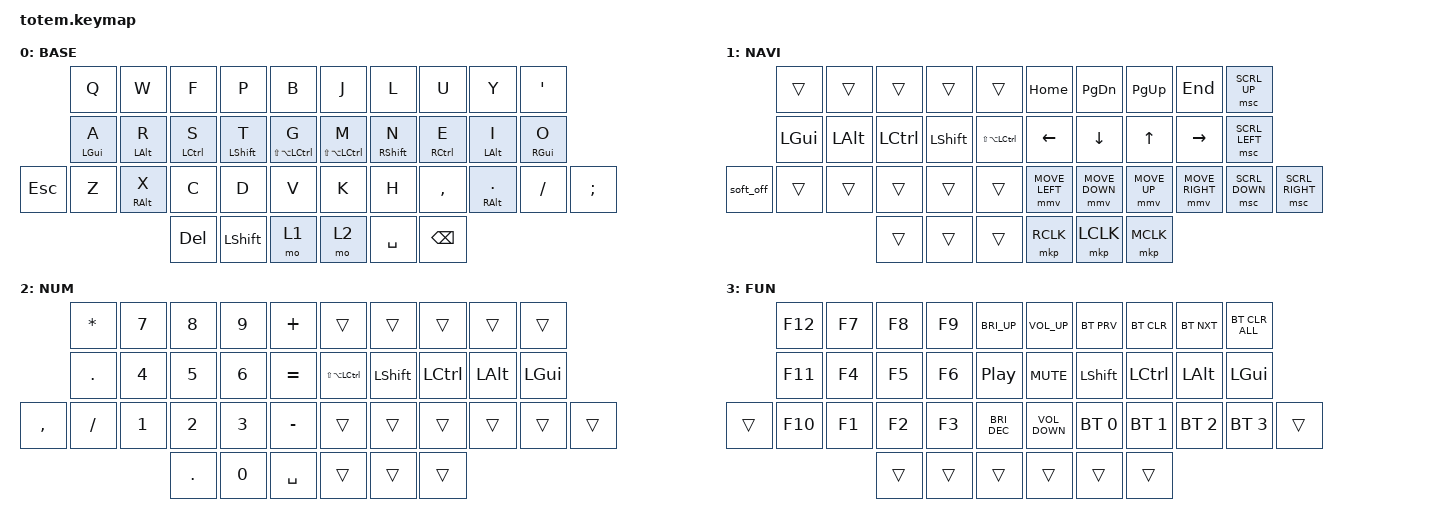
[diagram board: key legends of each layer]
//
//                                                        ▀▀▀▀▀     ▀▀▀▀▀          ▀▀█▀▀
//                                                        ▄▀▀▀▄  ▄  ▄▀▀▀▄  ▄  ▄▀▀▀▄  █  ▄▀▀▀▄
//                                                        █   █  █  █   █  █  █   █  █  █   █
//                                                         ▀▀▀   █   ▀▀▀   █   ▀▀▀   ▀   ▀▀▀
//                                                               █      ▄▄▄█▄▄▄    █   █  
//                                                               ▀      █  █  █     █▄█
//                                                             ▀▀▀▀▀    █  █  █      ▀
//                                                                      ▀  ▀  ▀
//
// ▄▄▄▄▄▄▄▄▄▄▄▄▄▄▄▄▄▄▄▄▄▄▄▄▄▄▄▄▄▄▄▄▄▄▄▄▄▄▄▄▄▄▄▄▄▄▄▄▄▄▄▄▄▄▄▄▄▄▄▄▄▄▄▄▄▄▄▄▄▄▄▄▄▄▄▄▄▄▄▄▄▄▄▄▄▄▄▄▄▄▄▄▄▄▄▄▄▄▄▄▄▄▄▄▄▄▄▄▄▄▄▄▄▄▄▄▄▄▄▄▄▄▄▄▄▄▄▄▄▄▄▄▄▄▄▄▄▄▄▄▄▄▄▄▄▄▄▄▄

#include <behaviors.dtsi>
#include <dt-bindings/zmk/bt.h>
#include <dt-bindings/zmk/keys.h>
#include <dt-bindings/zmk/pointing.h>

#define BASE 0
#define NAV  1
#define SYM  2
#define ADJ  3
#define TVP1 4
#define TVP2 5

&mt {
    quick-tap-ms = <100>;
    global-quick-tap;
    tapping-term-ms = <170>;
    flavor = "tap-preferred";
};

&soft_off { hold-time-ms = <1000>; };

&mmv {
    acceleration-exponent = <2>;
    time-to-max-speed-ms = <300>;
};

/ {
    combos {
        compatible = "zmk,combos";

        combo_lpar {
            bindings = <&kp LPAR>;
            key-positions = <3 13>;
            layers = <0>;
        };

        combo_rpar {
            bindings = <&kp RPAR>;
            key-positions = <6 16>;
            layers = <0>;
        };

        combo_lbrckt {
            bindings = <&kp LEFT_BRACKET>;
            key-positions = <2 12>;
            layers = <0>;
        };

        combo_rbrckt {
            bindings = <&kp RIGHT_BRACKET>;
            key-positions = <7 17>;
            layers = <0>;
        };

        combo_lbrce {
            bindings = <&kp LBRC>;
            key-positions = <1 11>;
            layers = <0>;
        };

        combo_rbrce {
            bindings = <&kp RBRC>;
            key-positions = <18 8>;
            layers = <0>;
        };

        combo_enter {
            bindings = <&kp ENTER>;
            key-positions = <17 18>;
            layers = <0>;
        };

        combo_tab {
            bindings = <&kp TAB>;
            key-positions = <11 12>;
            layers = <0>;
        };

        combo_minus {
            bindings = <&kp MINUS>;
            key-positions = <1 2>;
            layers = <0>;
        };

        combo_eq {
            bindings = <&kp EQUAL>;
            key-positions = <7 8>;
            layers = <0>;
        };

        combo_grave {
            bindings = <&kp GRAVE>;
            key-positions = <0 10>;
            layers = <0>;
        };

        combo_backslash {
            bindings = <&kp BACKSLASH>;
            key-positions = <9 19>;
            layers = <0>;
        };

        combo_capsword {
            bindings = <&caps_word>;
            key-positions = <13 16>;
            layers = <0>;
        };

        como_excl {
            bindings = <&kp EXCL>;
            key-positions = <24 13>;
            layers = <0>;
        };

        combo_at {
            bindings = <&kp AT>;
            key-positions = <22 11>;
            layers = <0>;
        };

        combo_hash {
            bindings = <&kp HASH>;
            key-positions = <18 29>;
            layers = <0>;
        };

        combo_dollar {
            bindings = <&kp DOLLAR>;
            key-positions = <19 30>;
            layers = <0>;
        };

        combo_percent {
            bindings = <&kp PERCENT>;
            key-positions = <27 16>;
            layers = <0>;
        };

        combo_caret {
            bindings = <&kp CARET>;
            key-positions = <21 10>;
            layers = <0>;
        };

        combo_amp {
            bindings = <&kp AMPS>;
            key-positions = <28 17>;
            layers = <0>;
        };

        combo_star {
            bindings = <&kp STAR>;
            key-positions = <23 12>;
            layers = <0>;
        };

        thumb_func {
            bindings = <&mo 3>;
            key-positions = <34 35>;
        };

        combo_esc {
            bindings = <&kp ESC>;
            key-positions = <0 1>;
            layers = <0>;
        };

        combo_underscore {
            bindings = <&kp UNDER>;
            key-positions = <22 23>;
            layers = <0>;
        };

        combo_plus {
            bindings = <&kp PLUS>;
            key-positions = <29 28>;
            layers = <0>;
        };

        combo_colon {
            bindings = <&kp COLON>;
            key-positions = <6 9>;
            layers = <0>;
        };

        combo_semi {
            bindings = <&kp SEMI>;
            key-positions = <0 3>;
            layers = <0>;
        };
    };

    behaviors {
        hmr: hmr {
            compatible = "zmk,behavior-hold-tap";
            label = "HMR";
            bindings = <&kp>, <&kp>;

            #binding-cells = <2>;
            tapping-term-ms = <280>;
            quick-tap-ms = <175>;
            require-prior-idle-ms = <150>;
            flavor = "balanced";
            hold-trigger-key-positions = <10 11 12 13 10 0 1 2 3 4 10 11 12 13 14 20 21 22 23 24 25 32 33 34 35 36 37>;
            hold-trigger-on-release;
        };

        hml: hml {
            compatible = "zmk,behavior-hold-tap";
            label = "HML";
            bindings = <&kp>, <&kp>;

            #binding-cells = <2>;
            tapping-term-ms = <280>;
            quick-tap-ms = <175>;
            require-prior-idle-ms = <150>;
            flavor = "balanced";
            hold-trigger-key-positions = <16 17 18 19 5 6 7 8 9 15 16 17 18 19 26 27 28 29 30 31 35 36 37>;
            hold-trigger-on-release;
        };
    };

    keymap {
        compatible = "zmk,keymap";

        // ▄▄▄▄▄▄▄▄▄▄▄▄▄▄▄▄▄▄▄▄▄▄▄▄▄▄▄▄▄▄▄▄▄▄▄▄▄▄▄▄▄▄▄▄▄▄▄▄▄▄▄▄▄▄▄▄▄▄▄▄▄▄▄▄▄▄▄▄▄▄▄▄▄▄▄▄▄▄▄▄▄▄▄▄▄▄▄▄▄▄▄▄▄▄▄▄▄▄▄▄▄▄▄▄▄▄▄▄▄▄▄▄▄▄▄▄▄▄▄▄▄▄▄▄▄▄▄▄▄▄▄▄▄▄▄▄▄▄▄▄▄▄▄▄▄▄▄▄▄

        base_layer {
            // ┏━━━━━━━━━━━━━━━━━━━━━━━━━━━━━━━━━━━━━━━┓

            label = "BASE";

            // ┗━━━━━━━━━━━━━━━━━━━━━━━━━━━━━━━━━━━━━━━┛
            //             ┏━━━━━━━━━━━┳━━━━━━━━━━━┳━━━━━━━━━━━┳━━━━━━━━━━━┳━━━━━━━━━━━┓   ┏━━━━━━━━━━━┳━━━━━━━━━━━┳━━━━━━━━━━━┳━━━━━━━━━━━┳━━━━━━━━━━━┓
            //             ┃     Q     ┃     W     ┃     F     ┃     P     ┃     G     ┃   ┃     J     ┃     L     ┃     U     ┃     Y     ┃     ;     ┃
            //             ┣━━━━━━━━━━━╋━━━━━━━━━━━╋━━━━━━━━━━━╋━━━━━━━━━━━╋━━━━━━━━━━━┫   ┣━━━━━━━━━━━╋━━━━━━━━━━━╋━━━━━━━━━━━╋━━━━━━━━━━━╋━━━━━━━━━━━┫
            //             ┃     A     ┃     R     ┃     S     ┃     T     ┃     D     ┃   ┃     H     ┃     N     ┃     E     ┃     I     ┃     O     ┃
            // ┏━━━━━━━━━━━╋━━━━━━━━━━━╋━━━━━━━━━━━╋━━━━━━━━━━━╋━━━━━━━━━━━╋━━━━━━━━━━━┫   ┣━━━━━━━━━━━╋━━━━━━━━━━━╋━━━━━━━━━━━╋━━━━━━━━━━━╋━━━━━━━━━━━╋━━━━━━━━━━━┓
            // ┃     Q     ┃     Z     ┃     X     ┃     C     ┃     V     ┃     B     ┃   ┃     K     ┃     M     ┃     ,     ┃     .     ┃     /     ┃     \     ┃
            // ┗━━━━━━━━━━━┻━━━━━━━━━━━┻━━━━━━━━━━━╋━━━━━━━━━━━╋━━━━━━━━━━━╋━━━━━━━━━━━┫   ┣━━━━━━━━━━━╋━━━━━━━━━━━╋━━━━━━━━━━━╋━━━━━━━━━━━┻━━━━━━━━━━━┻━━━━━━━━━━━┛
            //                                     ┃    DEL    ┃    TAB    ┃    SPC    ┃   ┃   ENTER   ┃           ┃   BSPC    ┃
            //                                     ┗━━━━━━━━━━━┻━━━━━━━━━━━┻━━━━━━━━━━━┛   ┗━━━━━━━━━━━┻━━━━━━━━━━━┻━━━━━━━━━━━┛

            bindings = <
         &kp Q        &kp W        &kp F         &kp P          &kp B                   &kp J                 &kp L         &kp U          &kp Y          &kp APOS
         &hml LGUI A  &hml LALT R  &hml LCTRL S  &hml LSHIFT T  &hml LS(LA(LCTRL)) G    &hmr LS(LA(LCTRL)) M  &hmr RSHFT N  &hmr RCTRL E   &hmr LALT I    &hmr RGUI O
&kp ESC  &kp Z        &hml RALT X  &kp C         &kp D          &kp V                   &kp K                 &kp H         &kp COMMA      &hmr RALT DOT  &kp FSLH     &kp SEMI
                                   &kp DEL       &kp LSHIFT     &mo 1                   &mo 2                 &kp SPACE     &kp BACKSPACE
            >;
        };

        // ▄▄▄▄▄▄▄▄▄▄▄▄▄▄▄▄▄▄▄▄▄▄▄▄▄▄▄▄▄▄▄▄▄▄▄▄▄▄▄▄▄▄▄▄▄▄▄▄▄▄▄▄▄▄▄▄▄▄▄▄▄▄▄▄▄▄▄▄▄▄▄▄▄▄▄▄▄▄▄▄▄▄▄▄▄▄▄▄▄▄▄▄▄▄▄▄▄▄▄▄▄▄▄▄▄▄▄▄▄▄▄▄▄▄▄▄▄▄▄▄▄▄▄▄▄▄▄▄▄▄▄▄▄▄▄▄▄▄▄▄▄▄▄▄▄▄▄▄▄

        nav_layer {
            // ┏━━━━━━━━━━━━━━━━━━━━━━━━━━━━━━━━━━━━━━━┓

            label = "NAVI";

            // ┗━━━━━━━━━━━━━━━━━━━━━━━━━━━━━━━━━━━━━━━┛
            //             ┏━━━━━━━━━━━┳━━━━━━━━━━━┳━━━━━━━━━━━┳━━━━━━━━━━━┳━━━━━━━━━━━┓   ┏━━━━━━━━━━━┳━━━━━━━━━━━┳━━━━━━━━━━━┳━━━━━━━━━━━┳━━━━━━━━━━━┓
            //             ┃           ┃           ┃     UP    ┃           ┃     {     ┃   ┃     }     ┃     7     ┃     8     ┃     9     ┃     +     ┃
            //             ┣━━━━━━━━━━━╋━━━━━━━━━━━╋━━━━━━━━━━━╋━━━━━━━━━━━╋━━━━━━━━━━━┫   ┣━━━━━━━━━━━╋━━━━━━━━━━━╋━━━━━━━━━━━╋━━━━━━━━━━━╋━━━━━━━━━━━┫
            //             ┃   SHIFT   ┃   LEFT    ┃    DOWN   ┃   RIGHT   ┃     [     ┃   ┃     ]     ┃     4     ┃     5     ┃     6     ┃     -     ┃
            // ┏━━━━━━━━━━━╋━━━━━━━━━━━╋━━━━━━━━━━━╋━━━━━━━━━━━╋━━━━━━━━━━━╋━━━━━━━━━━━┫   ┣━━━━━━━━━━━╋━━━━━━━━━━━╋━━━━━━━━━━━╋━━━━━━━━━━━╋━━━━━━━━━━━╋━━━━━━━━━━━┓
            // ┃           ┃           ┃   P UP    ┃  C LOCK   ┃  P DOWN   ┃     (     ┃   ┃     )     ┃     1     ┃     2     ┃     3     ┃     *     ┃           ┃
            // ┗━━━━━━━━━━━┻━━━━━━━━━━━┻━━━━━━━━━━━╋━━━━━━━━━━━╋━━━━━━━━━━━╋━━━━━━━━━━━┫   ┣━━━━━━━━━━━╋━━━━━━━━━━━╋━━━━━━━━━━━╋━━━━━━━━━━━┻━━━━━━━━━━━┻━━━━━━━━━━━┛
            //                                     ┃           ┃    TAB    ┃    SPC    ┃   ┃    DEL    ┃     0     ┃           ┃
            //                                     ┗━━━━━━━━━━━┻━━━━━━━━━━━┻━━━━━━━━━━━┛   ┗━━━━━━━━━━━┻━━━━━━━━━━━┻━━━━━━━━━━━┛

            bindings = <
           &trans        &trans    &trans     &trans          &trans               &kp HOME        &kp PG_DN       &kp PG_UP     &kp END          &msc SCRL_UP
           &kp LEFT_GUI  &kp LALT  &kp LCTRL  &kp LEFT_SHIFT  &kp LS(LA(LCTRL))    &kp LEFT        &kp DOWN        &kp UP_ARROW  &kp RIGHT        &msc SCRL_LEFT
&soft_off  &trans        &trans    &trans     &trans          &trans               &mmv MOVE_LEFT  &mmv MOVE_DOWN  &mmv MOVE_UP  &mmv MOVE_RIGHT  &msc SCRL_DOWN  &msc SCRL_RIGHT
                                   &trans     &trans          &trans               &mkp RCLK       &mkp LCLK       &mkp MCLK
            >;
        };

        // ▄▄▄▄▄▄▄▄▄▄▄▄▄▄▄▄▄▄▄▄▄▄▄▄▄▄▄▄▄▄▄▄▄▄▄▄▄▄▄▄▄▄▄▄▄▄▄▄▄▄▄▄▄▄▄▄▄▄▄▄▄▄▄▄▄▄▄▄▄▄▄▄▄▄▄▄▄▄▄▄▄▄▄▄▄▄▄▄▄▄▄▄▄▄▄▄▄▄▄▄▄▄▄▄▄▄▄▄▄▄▄▄▄▄▄▄▄▄▄▄▄▄▄▄▄▄▄▄▄▄▄▄▄▄▄▄▄▄▄▄▄▄▄▄▄▄▄▄▄

        num_layer {
            // ┏━━━━━━━━━━━━━━━━━━━━━━━━━━━━━━━━━━━━━━━┓

            label = "NUM";

            // ┗━━━━━━━━━━━━━━━━━━━━━━━━━━━━━━━━━━━━━━━┛
            //             ┏━━━━━━━━━━━┳━━━━━━━━━━━┳━━━━━━━━━━━┳━━━━━━━━━━━┳━━━━━━━━━━━┓   ┏━━━━━━━━━━━┳━━━━━━━━━━━┳━━━━━━━━━━━┳━━━━━━━━━━━┳━━━━━━━━━━━┓
            //             ┃     !     ┃     @     ┃     #     ┃     $     ┃     %     ┃   ┃     ˆ     ┃     &     ┃     Ü     ┃     '     ┃     "     ┃
            //             ┣━━━━━━━━━━━╋━━━━━━━━━━━╋━━━━━━━━━━━╋━━━━━━━━━━━╋━━━━━━━━━━━┫   ┣━━━━━━━━━━━╋━━━━━━━━━━━╋━━━━━━━━━━━╋━━━━━━━━━━━╋━━━━━━━━━━━┫
            //             ┃     Ä     ┃           ┃    SZ     ┃           ┃           ┃   ┃   MUTE    ┃   YEN     ┃   EURO    ┃  POUND    ┃     Ö     ┃
            // ┏━━━━━━━━━━━╋━━━━━━━━━━━╋━━━━━━━━━━━╋━━━━━━━━━━━╋━━━━━━━━━━━╋━━━━━━━━━━━┫   ┣━━━━━━━━━━━╋━━━━━━━━━━━╋━━━━━━━━━━━╋━━━━━━━━━━━╋━━━━━━━━━━━╋━━━━━━━━━━━┓
            // ┃           ┃  EMAIL1   ┃  EMAIL2   ┃           ┃           ┃           ┃   ┃   VOL-    ┃   VOL+    ┃   LAST    ┃   NEXT    ┃     \     ┃           ┃
            // ┗━━━━━━━━━━━┻━━━━━━━━━━━┻━━━━━━━━━━━╋━━━━━━━━━━━╋━━━━━━━━━━━╋━━━━━━━━━━━┫   ┣━━━━━━━━━━━╋━━━━━━━━━━━╋━━━━━━━━━━━╋━━━━━━━━━━━┻━━━━━━━━━━━┻━━━━━━━━━━━┛
            //                                     ┃           ┃    GIF    ┃    ADJ    ┃   ┃           ┃           ┃           ┃
            //                                     ┗━━━━━━━━━━━┻━━━━━━━━━━━┻━━━━━━━━━━━┛   ┗━━━━━━━━━━━┻━━━━━━━━━━━┻━━━━━━━━━━━┛

            bindings = <
           &kp STAR   &kp N7        &kp N8        &kp N9        &kp PLUS     &trans             &trans     &trans     &trans    &trans
           &kp DOT    &kp NUMBER_4  &kp N5        &kp NUMBER_6  &kp EQUAL    &kp LS(LA(LCTRL))  &kp LSHFT  &kp LCTRL  &kp LALT  &kp LGUI
&kp COMMA  &kp SLASH  &kp NUMBER_1  &kp NUMBER_2  &kp NUMBER_3  &kp MINUS    &trans             &trans     &trans     &trans    &trans    &trans
                                    &kp DOT       &kp N0        &kp SPACE    &trans             &trans     &trans
            >;
        };

        // ▄▄▄▄▄▄▄▄▄▄▄▄▄▄▄▄▄▄▄▄▄▄▄▄▄▄▄▄▄▄▄▄▄▄▄▄▄▄▄▄▄▄▄▄▄▄▄▄▄▄▄▄▄▄▄▄▄▄▄▄▄▄▄▄▄▄▄▄▄▄▄▄▄▄▄▄▄▄▄▄▄▄▄▄▄▄▄▄▄▄▄▄▄▄▄▄▄▄▄▄▄▄▄▄▄▄▄▄▄▄▄▄▄▄▄▄▄▄▄▄▄▄▄▄▄▄▄▄▄▄▄▄▄▄▄▄▄▄▄▄▄▄▄▄▄▄▄▄▄

        function_layer {
            // ┏━━━━━━━━━━━━━━━━━━━━━━━━━━━━━━━━━━━━━━━┓

            label = "FUN";

            // ┗━━━━━━━━━━━━━━━━━━━━━━━━━━━━━━━━━━━━━━━┛
            //             ┏━━━━━━━━━━━┳━━━━━━━━━━━┳━━━━━━━━━━━┳━━━━━━━━━━━┳━━━━━━━━━━━┓   ┏━━━━━━━━━━━┳━━━━━━━━━━━┳━━━━━━━━━━━┳━━━━━━━━━━━┳━━━━━━━━━━━┓
            //             ┃   RESET   ┃ BT CLEAR  ┃  OUT TOG  ┃           ┃           ┃   ┃           ┃    F7     ┃    F8     ┃    F9     ┃    F12    ┃
            //             ┣━━━━━━━━━━━╋━━━━━━━━━━━╋━━━━━━━━━━━╋━━━━━━━━━━━╋━━━━━━━━━━━┫   ┣━━━━━━━━━━━╋━━━━━━━━━━━╋━━━━━━━━━━━╋━━━━━━━━━━━╋━━━━━━━━━━━┫
            //             ┃ BOOTLOAD  ┃ BT NEXT   ┃           ┃           ┃           ┃   ┃           ┃    F4     ┃    F5     ┃    F6     ┃    F11    ┃
            // ┏━━━━━━━━━━━╋━━━━━━━━━━━╋━━━━━━━━━━━╋━━━━━━━━━━━╋━━━━━━━━━━━╋━━━━━━━━━━━┫   ┣━━━━━━━━━━━╋━━━━━━━━━━━╋━━━━━━━━━━━╋━━━━━━━━━━━╋━━━━━━━━━━━╋━━━━━━━━━━━┓
            // ┃           ┃           ┃ BT PREV   ┃           ┃           ┃           ┃   ┃           ┃    F1     ┃    F2     ┃    F3     ┃    F10    ┃           ┃
            // ┗━━━━━━━━━━━┻━━━━━━━━━━━┻━━━━━━━━━━━╋━━━━━━━━━━━╋━━━━━━━━━━━╋━━━━━━━━━━━┫   ┣━━━━━━━━━━━╋━━━━━━━━━━━╋━━━━━━━━━━━╋━━━━━━━━━━━┻━━━━━━━━━━━┻━━━━━━━━━━━┛
            //                                     ┃           ┃           ┃           ┃   ┃           ┃           ┃           ┃
            //                                     ┗━━━━━━━━━━━┻━━━━━━━━━━━┻━━━━━━━━━━━┛   ┗━━━━━━━━━━━┻━━━━━━━━━━━┻━━━━━━━━━━━┛

            bindings = <
        &kp F12  &kp F7  &kp F8  &kp F9  &kp C_BRI_UP        &kp C_VOLUME_UP    &bt BT_PRV    &bt BT_CLR    &bt BT_NXT    &bt BT_CLR_ALL
        &kp F11  &kp F4  &kp F5  &kp F6  &kp C_PLAY_PAUSE    &kp K_MUTE         &kp LSHFT     &kp LCTRL     &kp LALT      &kp LGUI
&trans  &kp F10  &kp F1  &kp F2  &kp F3  &kp C_BRI_DEC       &kp C_VOLUME_DOWN  &bt BT_SEL 0  &bt BT_SEL 1  &bt BT_SEL 2  &bt BT_SEL 3    &trans
                         &trans  &trans  &trans              &trans             &trans        &trans
            >;
        };

        // ▄▄▄▄▄▄▄▄▄▄▄▄▄▄▄▄▄▄▄▄▄▄▄▄▄▄▄▄▄▄▄▄▄▄▄▄▄▄▄▄▄▄▄▄▄▄▄▄▄▄▄▄▄▄▄▄▄▄▄▄▄▄▄▄▄▄▄▄▄▄▄▄▄▄▄▄▄▄▄▄▄▄▄▄▄▄▄▄▄▄▄▄▄▄▄▄▄▄▄▄▄▄▄▄▄▄▄▄▄▄▄▄▄▄▄▄▄▄▄▄▄▄▄▄▄▄▄▄▄▄▄▄▄▄▄▄▄▄▄▄▄▄▄▄▄▄▄▄▄
        // ▄▄▄▄▄▄▄▄▄▄▄▄▄▄▄▄▄▄▄▄▄▄▄▄▄▄▄▄▄▄▄▄▄▄▄▄▄▄▄▄▄▄▄▄▄▄▄▄▄▄▄▄▄▄▄▄▄▄▄▄▄▄▄▄▄▄▄▄▄▄▄▄▄▄▄▄▄▄▄▄▄▄▄▄▄▄▄▄▄▄▄▄▄▄▄▄▄▄▄▄▄▄▄▄▄▄▄▄▄▄▄▄▄▄▄▄▄▄▄▄▄▄▄▄▄▄▄▄▄▄▄▄▄▄▄▄▄▄▄▄▄▄▄▄▄▄▄▄▄
    };
};
